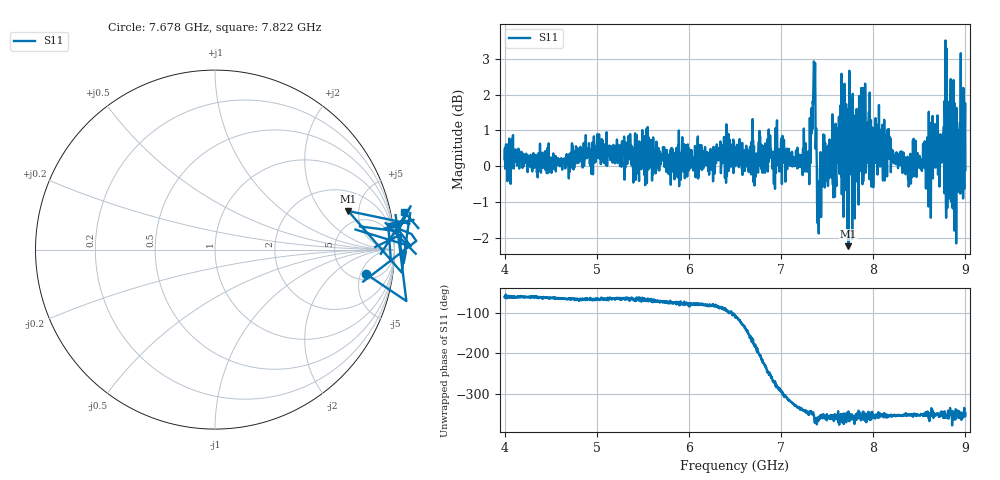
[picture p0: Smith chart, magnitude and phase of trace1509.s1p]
! Created with skrf 1.8.0 (http://scikit-rf.org).
# Hz S RI R 50.0
!freq ReS11 ImS11
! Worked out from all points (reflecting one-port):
!   1601 points, 4 GHz to 9 GHz, reference 50 ohm
!   lowest |S11| = -2.2 dB at 7.731 GHz (marker M1), VSWR 7.80, Z = 179 + j191 ohm
!   phase of S11 starts at -60 deg and turns -288 deg over the sweep
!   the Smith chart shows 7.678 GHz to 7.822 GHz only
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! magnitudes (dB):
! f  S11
! 4 GHz  0.2
! 4.625 GHz  -0.1
! 5.25 GHz  0.2
! 5.875 GHz  0.1
! 6.5 GHz  0.5
! 7.125 GHz  0.3
! 7.294 GHz  0.1
! 7.347 GHz  1.7
! 7.369 GHz  2.9
! 7.397 GHz  -1.6
! 7.412 GHz  -0.5
! 7.481 GHz  -0.4
! 7.588 GHz  -0.1
! 7.631 GHz  -0.2
! 7.731 GHz  -2.2
! 7.75 GHz  0.1
! 7.784 GHz  0.5
! 7.891 GHz  -0.4
! 7.981 GHz  -0.6
! 8.047 GHz  -0.2
! 8.375 GHz  0.1
! 8.438 GHz  0.8
! 8.575 GHz  -0.1
! 8.628 GHz  -0.1
! 8.819 GHz  0.7
! 8.875 GHz  -0.3
! 8.972 GHz  0.6
! 9 GHz  -0.1
